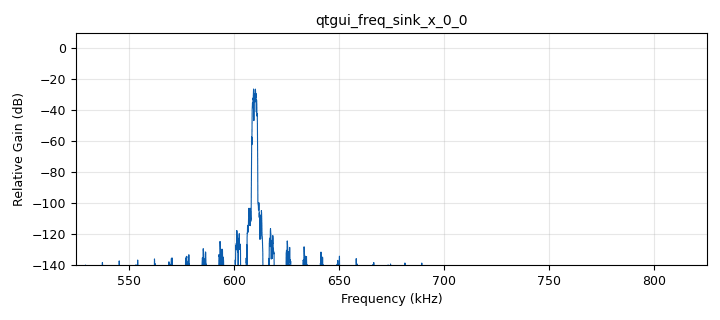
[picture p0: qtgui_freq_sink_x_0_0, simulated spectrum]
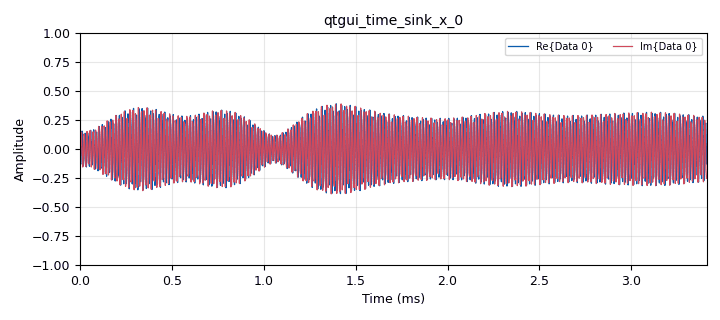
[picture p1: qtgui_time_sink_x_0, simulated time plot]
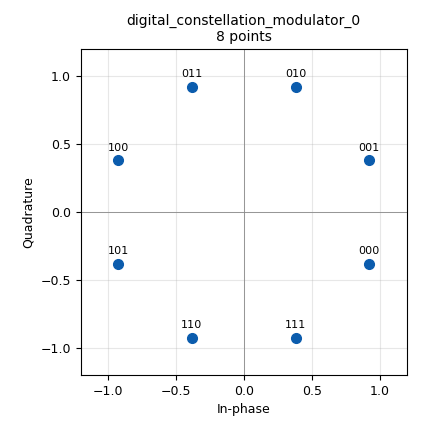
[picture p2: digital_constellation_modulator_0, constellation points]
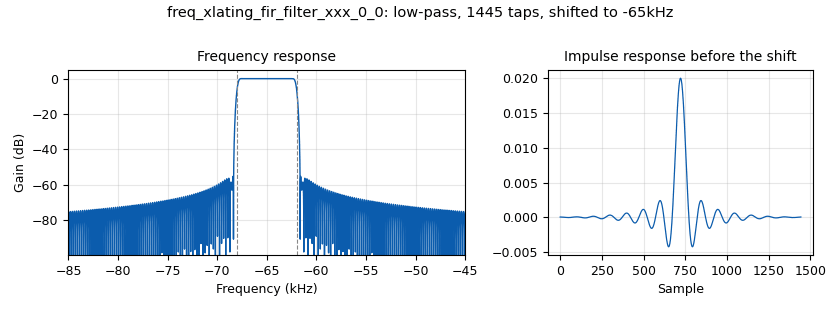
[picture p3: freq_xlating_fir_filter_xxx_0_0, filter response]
<?xml version='1.0' encoding='utf-8'?>
<?grc format='1' created='3.7.13'?>
<flow_graph>
<block>
<key>options</key>
<param><key>id</key><value>ota</value></param>
<param><key>generate_options</key><value>qt_gui</value></param>
</block>
<block>
<key>variable</key>
<param><key>id</key><value>center_freq</value></param>
<param><key>value</key><value>675e3</value></param>
</block>
<block>
<key>variable</key>
<param><key>id</key><value>const_8psk</value></param>
<param><key>value</key><value>digital.constellation_8psk_natural().base()</value></param>
</block>
<block>
<key>variable_qtgui_entry</key>
<param><key>id</key><value>down_freq</value></param>
<param><key>value</key><value>610e3</value></param>
<param><key>label</key><value>Downlink Frequency</value></param>
<param><key>type</key><value>real</value></param>
</block>
<block>
<key>variable_qtgui_entry</key>
<param><key>id</key><value>freq_correction</value></param>
<param><key>value</key><value>-120</value></param>
<param><key>label</key><value>Frequency correction</value></param>
<param><key>type</key><value>real</value></param>
</block>
<block>
<key>variable_qtgui_entry</key>
<param><key>id</key><value>gain</value></param>
<param><key>value</key><value>0.3</value></param>
<param><key>label</key><value>gain</value></param>
<param><key>type</key><value>real</value></param>
</block>
<block>
<key>variable</key>
<param><key>id</key><value>gray_code</value></param>
<param><key>value</key><value>digital.utils.gray_code.gray_code(8)</value></param>
</block>
<block>
<key>variable</key>
<param><key>id</key><value>gray_code_inv</value></param>
<param><key>value</key><value>digital.utils.mod_codes.invert_code(gray_code)</value></param>
</block>
<block>
<key>variable_low_pass_filter_taps</key>
<param><key>id</key><value>lowpass_taps</value></param>
<param><key>cutoff_freq</key><value>3000</value></param>
<param><key>gain</key><value>1.0</value></param>
<param><key>samp_rate</key><value>300e3</value></param>
<param><key>width</key><value>500</value></param>
<param><key>win</key><value>firdes.WIN_HAMMING</value></param>
</block>
<block>
<key>variable</key>
<param><key>id</key><value>samp_rate</value></param>
<param><key>value</key><value>8000</value></param>
</block>
<block>
<key>analog_sig_source_x</key>
<param><key>id</key><value>analog_sig_source_x_0</value></param>
<param><key>amp</key><value>gain</value></param>
<param><key>freq</key><value>down_freq - center_freq + freq_correction</value></param>
<param><key>offset</key><value>0</value></param>
<param><key>type</key><value>complex</value></param>
<param><key>samp_rate</key><value>300e3</value></param>
<param><key>waveform</key><value>analog.GR_COS_WAVE</value></param>
</block>
<block>
<key>blks2_tcp_sink</key>
<param><key>id</key><value>blks2_tcp_sink_0_0</value></param>
<param><key>addr</key><value>eshail.lan.destevez.net</value></param>
<param><key>type</key><value>short</value></param>
<param><key>server</key><value>False</value></param>
<param><key>port</key><value>6969</value></param>
<param><key>vlen</key><value>1</value></param>
</block>
<block>
<key>blocks_complex_to_interleaved_short</key>
<param><key>id</key><value>blocks_complex_to_interleaved_short_0</value></param>
<param><key>vector_output</key><value>False</value></param>
</block>
<block>
<key>blocks_interleaved_short_to_complex</key>
<param><key>id</key><value>blocks_interleaved_short_to_complex_0</value></param>
<param><key>vector_input</key><value>False</value></param>
</block>
<block>
<key>blocks_keep_m_in_n</key>
<param><key>id</key><value>blocks_keep_m_in_n_0</value></param>
<param><key>m</key><value>1392//2</value></param>
<param><key>n</key><value>(24+1392)//2</value></param>
<param><key>type</key><value>short</value></param>
<param><key>offset</key><value>24//2</value></param>
</block>
<block>
<key>blocks_multiply_const_vxx</key>
<param><key>id</key><value>blocks_multiply_const_vxx_1</value></param>
<param><key>const</key><value>2**15</value></param>
<param><key>type</key><value>complex</value></param>
</block>
<block>
<key>blocks_multiply_xx</key>
<param><key>id</key><value>blocks_multiply_xx_0</value></param>
<param><key>type</key><value>complex</value></param>
</block>
<block>
<key>blocks_pack_k_bits_bb</key>
<param><key>id</key><value>blocks_pack_k_bits_bb_0</value></param>
<param><key>k</key><value>3</value></param>
</block>
<block>
<key>blocks_udp_source</key>
<param><key>id</key><value>blocks_udp_source_0</value></param>
<param><key>ipaddr</key><value>239.255.0.1</value></param>
<param><key>eof</key><value>False</value></param>
<param><key>type</key><value>short</value></param>
<param><key>psize</key><value>1472</value></param>
<param><key>port</key><value>50100</value></param>
<param><key>vlen</key><value>1</value></param>
</block>
<block>
<key>blocks_unpacked_to_packed_xx</key>
<param><key>id</key><value>blocks_unpacked_to_packed_xx_0_0</value></param>
<param><key>bits_per_chunk</key><value>3</value></param>
<param><key>endianness</key><value>gr.GR_MSB_FIRST</value></param>
<param><key>type</key><value>byte</value></param>
</block>
<block>
<key>digital_constellation_modulator</key>
<param><key>id</key><value>digital_constellation_modulator_0</value></param>
<param><key>constellation</key><value>const_8psk</value></param>
<param><key>differential</key><value>False</value></param>
<param><key>excess_bw</key><value>0.35</value></param>
<param><key>samples_per_symbol</key><value>4</value></param>
</block>
<block>
<key>digital_diff_encoder_bb</key>
<param><key>id</key><value>digital_diff_encoder_bb_0</value></param>
<param><key>modulus</key><value>8</value></param>
</block>
<block>
<key>digital_glfsr_source_x</key>
<param><key>id</key><value>digital_glfsr_source_x_0_0</value></param>
<param><key>degree</key><value>20</value></param>
<param><key>mask</key><value>0x80004</value></param>
<param><key>repeat</key><value>True</value></param>
<param><key>seed</key><value>1</value></param>
<param><key>type</key><value>byte</value></param>
</block>
<block>
<key>digital_map_bb</key>
<param><key>id</key><value>digital_map_bb_0</value></param>
<param><key>map</key><value>gray_code_inv</value></param>
</block>
<block>
<key>freq_xlating_fir_filter_xxx</key>
<param><key>id</key><value>freq_xlating_fir_filter_xxx_0_0</value></param>
<param><key>center_freq</key><value>down_freq - center_freq</value></param>
<param><key>decim</key><value>30</value></param>
<param><key>samp_rate</key><value>300e3</value></param>
<param><key>taps</key><value>lowpass_taps</value></param>
<param><key>type</key><value>ccc</value></param>
</block>
<block>
<key>import</key>
<param><key>id</key><value>import_0</value></param>
<param><key>import</key><value>import numpy as np</value></param>
</block>
<block>
<key>qtgui_freq_sink_x</key>
<param><key>id</key><value>qtgui_freq_sink_x_0_0</value></param>
<param><key>bw</key><value>300e3</value></param>
<param><key>fc</key><value>center_freq</value></param>
<param><key>fftsize</key><value>4096</value></param>
<param><key>showports</key><value>True</value></param>
<param><key>type</key><value>complex</value></param>
<param><key>wintype</key><value>firdes.WIN_BLACKMAN_hARRIS</value></param>
</block>
<block>
<key>qtgui_freq_sink_x</key>
<param><key>id</key><value>qtgui_freq_sink_x_1</value></param>
<param><key>bw</key><value>samp_rate</value></param>
<param><key>fc</key><value>0</value></param>
<param><key>fftsize</key><value>1024</value></param>
<param><key>showports</key><value>True</value></param>
<param><key>type</key><value>complex</value></param>
<param><key>wintype</key><value>firdes.WIN_BLACKMAN_hARRIS</value></param>
</block>
<block>
<key>qtgui_time_sink_x</key>
<param><key>id</key><value>qtgui_time_sink_x_0</value></param>
<param><key>color1</key><value>"blue"</value></param>
<param><key>label1</key><value></value></param>
<param><key>color2</key><value>"red"</value></param>
<param><key>label2</key><value></value></param>
<param><key>size</key><value>1024</value></param>
<param><key>srate</key><value>300e3</value></param>
<param><key>type</key><value>complex</value></param>
</block>
<block>
<key>rational_resampler_xxx</key>
<param><key>id</key><value>rational_resampler_xxx_0</value></param>
<param><key>decim</key><value>2</value></param>
<param><key>interp</key><value>75</value></param>
<param><key>taps</key><value></value></param>
<param><key>type</key><value>ccc</value></param>
</block>
<block>
<key>rational_resampler_xxx</key>
<param><key>id</key><value>rational_resampler_xxx_1</value></param>
<param><key>decim</key><value>5</value></param>
<param><key>interp</key><value>4</value></param>
<param><key>taps</key><value></value></param>
<param><key>type</key><value>ccc</value></param>
</block>
<connection><source_block_id>analog_sig_source_x_0</source_block_id><sink_block_id>blocks_multiply_xx_0</sink_block_id><source_key>0</source_key><sink_key>1</sink_key></connection>
<connection><source_block_id>blocks_complex_to_interleaved_short_0</source_block_id><sink_block_id>blks2_tcp_sink_0_0</sink_block_id><source_key>0</source_key><sink_key>0</sink_key></connection>
<connection><source_block_id>blocks_interleaved_short_to_complex_0</source_block_id><sink_block_id>freq_xlating_fir_filter_xxx_0_0</sink_block_id><source_key>0</source_key><sink_key>0</sink_key></connection>
<connection><source_block_id>blocks_keep_m_in_n_0</source_block_id><sink_block_id>blocks_interleaved_short_to_complex_0</sink_block_id><source_key>0</source_key><sink_key>0</sink_key></connection>
<connection><source_block_id>blocks_multiply_const_vxx_1</source_block_id><sink_block_id>blocks_complex_to_interleaved_short_0</sink_block_id><source_key>0</source_key><sink_key>0</sink_key></connection>
<connection><source_block_id>blocks_multiply_xx_0</source_block_id><sink_block_id>blocks_multiply_const_vxx_1</sink_block_id><source_key>0</source_key><sink_key>0</sink_key></connection>
<connection><source_block_id>blocks_multiply_xx_0</source_block_id><sink_block_id>qtgui_freq_sink_x_0_0</sink_block_id><source_key>0</source_key><sink_key>0</sink_key></connection>
<connection><source_block_id>blocks_multiply_xx_0</source_block_id><sink_block_id>qtgui_time_sink_x_0</sink_block_id><source_key>0</source_key><sink_key>0</sink_key></connection>
<connection><source_block_id>blocks_pack_k_bits_bb_0</source_block_id><sink_block_id>digital_map_bb_0</sink_block_id><source_key>0</source_key><sink_key>0</sink_key></connection>
<connection><source_block_id>blocks_udp_source_0</source_block_id><sink_block_id>blocks_keep_m_in_n_0</sink_block_id><source_key>0</source_key><sink_key>0</sink_key></connection>
<connection><source_block_id>blocks_unpacked_to_packed_xx_0_0</source_block_id><sink_block_id>digital_constellation_modulator_0</sink_block_id><source_key>0</source_key><sink_key>0</sink_key></connection>
<connection><source_block_id>digital_constellation_modulator_0</source_block_id><sink_block_id>rational_resampler_xxx_0</sink_block_id><source_key>0</source_key><sink_key>0</sink_key></connection>
<connection><source_block_id>digital_diff_encoder_bb_0</source_block_id><sink_block_id>blocks_unpacked_to_packed_xx_0_0</sink_block_id><source_key>0</source_key><sink_key>0</sink_key></connection>
<connection><source_block_id>digital_glfsr_source_x_0_0</source_block_id><sink_block_id>blocks_pack_k_bits_bb_0</sink_block_id><source_key>0</source_key><sink_key>0</sink_key></connection>
<connection><source_block_id>digital_map_bb_0</source_block_id><sink_block_id>digital_diff_encoder_bb_0</sink_block_id><source_key>0</source_key><sink_key>0</sink_key></connection>
<connection><source_block_id>freq_xlating_fir_filter_xxx_0_0</source_block_id><sink_block_id>rational_resampler_xxx_1</sink_block_id><source_key>0</source_key><sink_key>0</sink_key></connection>
<connection><source_block_id>rational_resampler_xxx_0</source_block_id><sink_block_id>blocks_multiply_xx_0</sink_block_id><source_key>0</source_key><sink_key>0</sink_key></connection>
<connection><source_block_id>rational_resampler_xxx_1</source_block_id><sink_block_id>qtgui_freq_sink_x_1</sink_block_id><source_key>0</source_key><sink_key>0</sink_key></connection>
</flow_graph>
